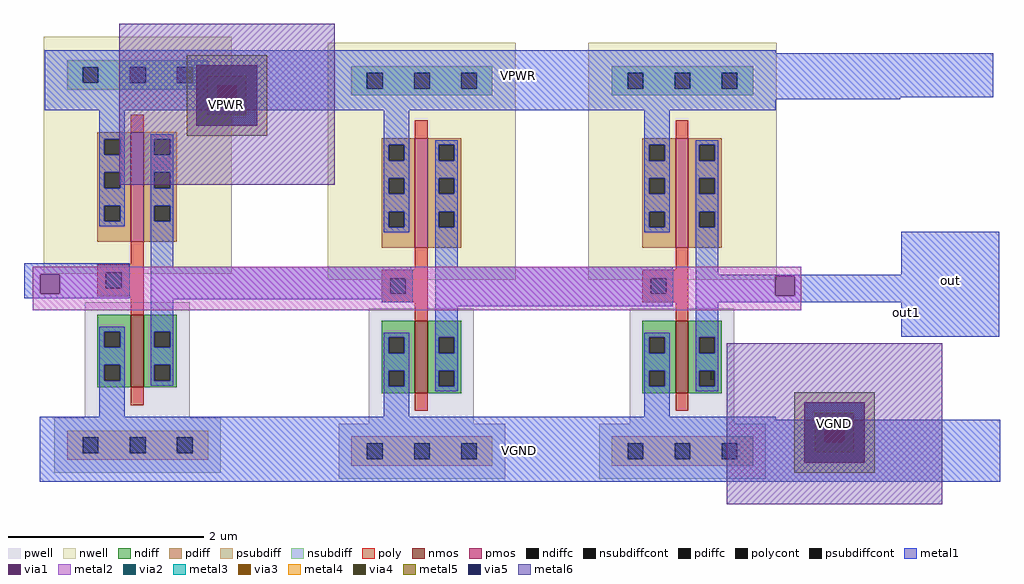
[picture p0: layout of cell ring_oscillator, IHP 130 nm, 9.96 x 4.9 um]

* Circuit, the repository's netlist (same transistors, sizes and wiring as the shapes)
* NGSPICE file created from ring_oscillator.ext - technology: ihp-sg13g2

.subckt sg13g2_inv_1 Y A VSS VDD
X0 Y A VDD VDD sg13_lv_pmos ad=0.3808p pd=2.92u as=0.3808p ps=2.92u w=1.12u l=0.13u
X1 Y A VSS VSS sg13_lv_nmos ad=0.2516p pd=2.16u as=0.2516p ps=2.16u w=0.74u l=0.13u
.ends

.subckt ring_oscillator out VPWR VGND
Xx1 x2/A x1/A VGND VPWR sg13g2_inv_1
Xx2 out x2/A VGND VPWR sg13g2_inv_1
Xx32 x1/A out VGND VPWR sg13g2_inv_1
.ends

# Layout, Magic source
magic
tech ihp-sg13g2
magscale 1 2
<< nwell >>
rect 444 480 452 576
<< pwell >>
rect 1022 194 1036 220
<< ndiff >>
rect 1022 194 1036 220
<< metal1 >>
rect -338 860 1154 866
rect -338 770 1598 860
rect -338 766 1408 770
rect -338 744 1154 766
rect -380 409 -164 432
rect -380 369 -347 409
rect -307 369 -164 409
rect -380 360 -164 369
rect -120 358 410 424
rect 466 344 944 424
rect 1410 408 1610 496
rect 996 405 1610 408
rect 996 365 1153 405
rect 1193 365 1610 405
rect 996 352 1610 365
rect 1410 282 1610 352
rect -348 112 1154 118
rect -348 -14 1612 112
rect 4 754 64 814
<< via1 >>
rect -347 369 -307 409
rect 1153 365 1193 405
rect 14 754 54 794
rect 1254 66 1294 106
<< metal2 >>
rect -362 409 1206 424
rect -362 369 -347 409
rect -307 405 1206 409
rect -307 369 1153 405
rect -362 365 1153 369
rect 1193 365 1206 405
rect -362 336 1206 365
rect -6 734 74 814
rect 1234 46 1314 126
<< via2 >>
rect 14 754 54 794
rect 1254 66 1294 106
<< metal3 >>
rect -6 734 74 814
rect 1234 46 1314 126
<< via3 >>
rect 14 754 54 794
rect 1254 66 1294 106
<< metal4 >>
rect -6 734 74 814
rect 1234 46 1314 126
<< via4 >>
rect 14 754 54 794
rect 1254 66 1294 106
<< metal5 >>
rect -48 692 116 856
rect 1192 4 1356 168
<< via5 >>
rect -28 712 96 836
rect 1212 24 1336 148
<< metal6 >>
rect -186 592 254 920
rect 1054 -60 1494 268
use sg13g2_inv_1  x1
transform 1 0 288 0 1 48
box -48 -56 336 834
use sg13g2_inv_1  x2
transform 1 0 820 0 1 48
box -48 -56 336 834
use sg13g2_inv_1  x32
transform 1 0 -292 0 1 60
box -48 -56 336 834
<< labels >>
flabel metal1 1410 296 1610 496 0 FreeSans 1600 0 0 0 out
port 0 nsew
flabel metal1 -338 770 1598 860 0 FreeSans 1600 0 0 0 VPWR
port 1 nsew
flabel metal6 -186 592 254 920 0 FreeSans 1600 0 0 0 VPWR
port 1 nsew
flabel metal1 -348 -14 1612 112 0 FreeSans 1600 0 0 0 VGND
port 2 nsew
flabel metal6 1054 -60 1494 268 0 FreeSans 1600 0 0 0 VGND
port 2 nsew
rlabel metal1 1410 282 1432 380 1 out1
<< end >>

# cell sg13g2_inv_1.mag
magic
tech ihp-sg13g2
magscale 1 2
<< nwell >>
rect -48 350 336 834
<< pwell >>
rect 36 56 250 292
rect -26 -56 314 56
<< nmos >>
rect 130 118 156 266
<< pmos >>
rect 130 415 156 639
<< ndiff >>
rect 62 232 130 266
rect 62 200 76 232
rect 108 200 130 232
rect 62 164 130 200
rect 62 132 76 164
rect 108 132 130 164
rect 62 118 130 132
rect 156 232 224 266
rect 156 200 178 232
rect 210 200 224 232
rect 156 164 224 200
rect 156 132 178 164
rect 210 132 224 164
rect 156 118 224 132
<< pdiff >>
rect 62 625 130 639
rect 62 593 76 625
rect 108 593 130 625
rect 62 557 130 593
rect 62 525 76 557
rect 108 525 130 557
rect 62 489 130 525
rect 62 457 76 489
rect 108 457 130 489
rect 62 415 130 457
rect 156 625 224 639
rect 156 593 178 625
rect 210 593 224 625
rect 156 557 224 593
rect 156 525 178 557
rect 210 525 224 557
rect 156 489 224 525
rect 156 457 178 489
rect 210 457 224 489
rect 156 415 224 457
<< ndiffc >>
rect 76 200 108 232
rect 76 132 108 164
rect 178 200 210 232
rect 178 132 210 164
<< pdiffc >>
rect 76 593 108 625
rect 76 525 108 557
rect 76 457 108 489
rect 178 593 210 625
rect 178 525 210 557
rect 178 457 210 489
<< psubdiff >>
rect 0 16 288 30
rect 0 -16 32 16
rect 64 -16 128 16
rect 160 -16 224 16
rect 256 -16 288 16
rect 0 -30 288 -16
<< nsubdiff >>
rect 0 772 288 786
rect 0 740 32 772
rect 64 740 128 772
rect 160 740 224 772
rect 256 740 288 772
rect 0 726 288 740
<< psubdiffcont >>
rect 32 -16 64 16
rect 128 -16 160 16
rect 224 -16 256 16
<< nsubdiffcont >>
rect 32 740 64 772
rect 128 740 160 772
rect 224 740 256 772
<< poly >>
rect 130 639 156 675
rect 130 370 156 415
rect 62 353 156 370
rect 62 321 79 353
rect 111 321 156 353
rect 62 304 156 321
rect 130 266 156 304
rect 130 82 156 118
<< polycont >>
rect 79 321 111 353
<< metal1 >>
rect 0 772 288 800
rect 0 740 32 772
rect 64 740 128 772
rect 160 740 224 772
rect 256 740 288 772
rect 0 712 288 740
rect 66 625 118 712
rect 66 593 76 625
rect 108 593 118 625
rect 66 557 118 593
rect 66 525 76 557
rect 108 525 118 557
rect 66 489 118 525
rect 66 457 76 489
rect 108 457 118 489
rect 66 447 118 457
rect 171 625 217 635
rect 171 593 178 625
rect 210 593 217 625
rect 171 557 217 593
rect 171 525 178 557
rect 210 525 217 557
rect 171 489 217 525
rect 171 457 178 489
rect 210 457 217 489
rect 62 353 125 370
rect 62 321 79 353
rect 111 321 125 353
rect 62 304 125 321
rect 66 232 118 242
rect 66 200 76 232
rect 108 200 118 232
rect 66 164 118 200
rect 66 132 76 164
rect 108 132 118 164
rect 66 44 118 132
rect 171 232 217 457
rect 171 200 178 232
rect 210 200 217 232
rect 171 164 217 200
rect 171 132 178 164
rect 210 132 217 164
rect 171 122 217 132
rect 0 16 288 44
rect 0 -16 32 16
rect 64 -16 128 16
rect 160 -16 224 16
rect 256 -16 288 16
rect 0 -44 288 -16
<< labels >>
flabel metal1 s 171 122 217 635 0 FreeSans 400 0 0 0 Y
port 2 nsew
flabel metal1 s 62 304 125 370 0 FreeSans 400 0 0 0 A
port 3 nsew
flabel metal1 s 0 -44 288 44 0 FreeSans 400 0 0 0 VSS
port 4 nsew
flabel metal1 s 0 712 288 800 0 FreeSans 400 0 0 0 VDD
port 5 nsew
<< properties >>
string GDS_END 306644
string GDS_FILE $PDKPATH/libs.ref/sg13g2_stdcell/gds/sg13g2_stdcell.gds
string GDS_START 303708
<< end >>
